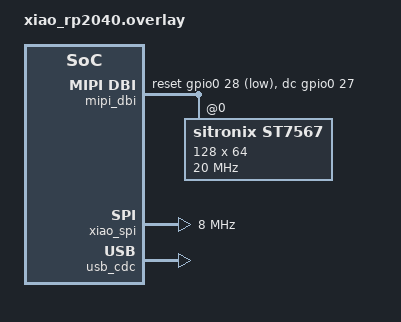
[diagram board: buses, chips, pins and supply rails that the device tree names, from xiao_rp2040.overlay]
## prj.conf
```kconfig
# Common to every board. Board-specific settings (console) live in
# boards/<board>.conf, merged automatically for the board being built.
CONFIG_GPIO=y
CONFIG_SPI=y
CONFIG_HEAP_MEM_POOL_SIZE=32768
CONFIG_MAIN_STACK_SIZE=4096

CONFIG_LOG=y
CONFIG_DISPLAY=y
CONFIG_ST7567=y
CONFIG_ST7567_DEFAULT_CONTRAST=0
CONFIG_MIPI_DBI=y
CONFIG_MIPI_DBI_SPI=y
```

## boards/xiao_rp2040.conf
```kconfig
# Console over USB CDC ACM (device_next stack), initialized at boot -
# the CDC node is in boards/xiao_rp2040.overlay.
CONFIG_USB_DEVICE_STACK_NEXT=y
CONFIG_USBD_CDC_ACM_CLASS=y
CONFIG_CDC_ACM_SERIAL_INITIALIZE_AT_BOOT=y
CONFIG_SERIAL=y
CONFIG_CONSOLE=y
CONFIG_UART_CONSOLE=y
CONFIG_UART_LINE_CTRL=y
```

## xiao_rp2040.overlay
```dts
// https://github.com/zephyrproject-rtos/zephyr/issues/86929
// https://www.seeedstudio.com/XIAO-RP2040-v1-0-p-5026.html
// https://docs.zephyrproject.org/latest/boards/seeed/xiao_rp2040/doc/index.html
// https://github.com/zephyrproject-rtos/zephyr/blob/main/boards/seeed/xiao_rp2040/xiao_rp2040.dts
// zephyr/dts/bindings/display/sitronix,st7565-common.yaml


/ {
    chosen {
        zephyr,display = &st7567;
        zephyr,console = &usb_cdc;
    };

    mipi_dbi {
        compatible      = "zephyr,mipi-dbi-spi";
        spi-dev         = <&xiao_spi>;
        dc-gpios        = <&gpio0 27 GPIO_ACTIVE_HIGH>; // pin P27/D1
        reset-gpios     = <&gpio0 28 GPIO_ACTIVE_LOW>;  // pin P28/D2
        write-only;
        #address-cells  = <1>;
        #size-cells     = <0>;

        st7567: st7567@0 {
            compatible          = "sitronix,st7567";
            mipi-max-frequency  = <20000000>;       // 20MHz
            mipi-mode = "MIPI_DBI_MODE_SPI_4WIRE";
            reg                 = <0>;              // Uses cs-gpios[0]
            width               = <128>;
            height              = <64>;
            status              = "okay";
            column-offset       = <0>;
            line-offset         = <0>;
            regulation-ratio    = <0x3>;            // 3bits
            //segment-invdir;                         // flipX=True
            com-invdir;                             // flipY=True
            bias;
        };
    };
};

// XIAO RP2040 SPI_TX P3, SPI_SCK P2
&xiao_spi {
    status          = "okay";
    clock-frequency = <8000000>; // be safe
    cs-gpios        = <&gpio0 26 GPIO_ACTIVE_LOW>;  // PIN D0/P26
};

&zephyr_udc0 {
    usb_cdc: usb_cdc_0 {
        compatible = "zephyr,cdc-acm-uart";
    };
};
```

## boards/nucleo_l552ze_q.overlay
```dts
// NUCLEO-L552ZE-Q, ST7567 on the Arduino (Zio) header:
//   SCK  D13 = PA5 (SPI1)       DC    D9 = PD15
//   MOSI D11 = PA7 (SPI1)       RESET D8 = PF12
//   CS   D10 = PD14 (GPIO)
// The board has no arduino_spi label; spi1 is the SPI on D11-D13.
// Console on LPUART1 = ST-LINK virtual COM port (board default).

#include <zephyr/dt-bindings/gpio/arduino-header-r3.h>

/ {
    chosen {
        zephyr,display = &st7567;
    };

    mipi_dbi {
        compatible      = "zephyr,mipi-dbi-spi";
        spi-dev         = <&spi1>;
        dc-gpios        = <&arduino_header ARDUINO_HEADER_R3_D9 GPIO_ACTIVE_HIGH>;
        reset-gpios     = <&arduino_header ARDUINO_HEADER_R3_D8 GPIO_ACTIVE_LOW>;
        write-only;
        #address-cells  = <1>;
        #size-cells     = <0>;

        st7567: st7567@0 {
            compatible          = "sitronix,st7567";
            mipi-max-frequency  = <20000000>;       // 20MHz
            mipi-mode = "MIPI_DBI_MODE_SPI_4WIRE";
            reg                 = <0>;              // Uses cs-gpios[0]
            width               = <128>;
            height              = <64>;
            status              = "okay";
            column-offset       = <0>;
            line-offset         = <0>;
            regulation-ratio    = <0x3>;            // 3bits
            //segment-invdir;                         // flipX=True
            com-invdir;                             // flipY=True
            bias;
        };
    };
};

// Drop hardware NSS (PA4) from the board's pinctrl, CS is a GPIO on D10
&spi1 {
    pinctrl-0 = <&spi1_sck_pa5 &spi1_miso_pa6 &spi1_mosi_pa7>;
    cs-gpios  = <&arduino_header ARDUINO_HEADER_R3_D10 GPIO_ACTIVE_LOW>;
};
```

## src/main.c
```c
#include <zephyr/kernel.h>
#include <zephyr/device.h>
#include <zephyr/drivers/display.h>

int main() {
    printk("** Starting ST7567 test **\n");
    const struct device *display_dev;
    display_dev = DEVICE_DT_GET(DT_CHOSEN(zephyr_display));
    if (!device_is_ready(display_dev)) {
        printk("Display device not ready!\n");
        return -1;
    }
    display_blanking_off(display_dev);

    // Check display capabilities
    struct display_capabilities caps;
    display_get_capabilities(display_dev, &caps);
    printk("Display size: %dx%d\n",      caps.x_resolution, caps.y_resolution);
    printk("Current pixel format: %d\n", caps.current_pixel_format);
    printk("Supported formats: 0x%x\n",  caps.supported_pixel_formats);
    printk("Screen info: 0x%x\n",        caps.screen_info);

    // Write 11x8 pixels space invader
    struct display_buffer_descriptor buf_desc = {
        .buf_size = 11, .width = 11, .height = 8, .pitch = 11
    };
    static uint8_t buf[11] = "\x70\x18\x7d\xb6\xbc\x3c\xbc\xb6\x7d\x18\x70";
    display_write(display_dev, 0, 0, &buf_desc, buf);

    printk("Done.\n");
    return 0;
}
```
